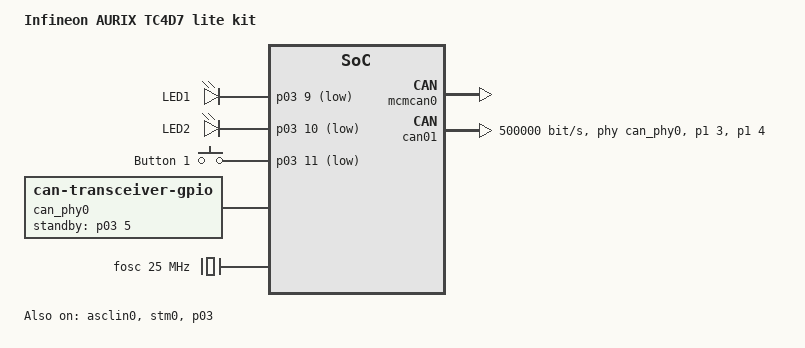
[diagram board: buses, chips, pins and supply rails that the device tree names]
/*
 * SPDX-FileCopyrightText: Copyright (c) 2025 Infineon Technologies AG,
 * SPDX-FileCopyrightText: or an affiliate of Infineon Technologies AG. All rights reserved.
 * SPDX-FileCopyrightText: Copyright (c) 2026 Linumiz
 *
 * SPDX-License-Identifier: Apache-2.0
 */

/dts-v1/;

#include <infineon/tc4x/tc4d7xp.dtsi>
#include <infineon/tc4x/tc4d7xp-pinctrl.dtsi>
#include <zephyr/dt-bindings/gpio/gpio.h>
#include <zephyr/dt-bindings/input/input-event-codes.h>

/ {
	model = "Infineon AURIX TC4D7 lite kit";
	compatible = "infineon,kit-a3g-tc4d7-lite";

	chosen {
		zephyr,flash = &flash0;
		zephyr,sram = &dsram0;
		zephyr,console = &asclin0;
		zephyr,shell-uart = &asclin0;
		zephyr,code-partition = &code_partition;
		zephyr,canbus = &can01;
	};

	aliases {
		led0 = &led0;
		led1 = &led1;
		sw0 = &button0;
	};

	leds {
		compatible = "gpio-leds";

		led0: led_0 {
			gpios = <&p03 9 GPIO_ACTIVE_LOW>;
			label = "LED1";
		};

		led1: led_1 {
			gpios = <&p03 10 GPIO_ACTIVE_LOW>;
			label = "LED2";
		};
	};

	buttons {
		compatible = "gpio-keys";

		button0: button_0 {
			gpios = <&p03 11 (GPIO_PULL_UP | GPIO_ACTIVE_LOW)>;
			label = "Button 1";
			zephyr,code = <INPUT_KEY_0>;
		};
	};

	can_phy0: can-phy0 {
		compatible = "can-transceiver-gpio";
		standby-gpios = <&p03 5 GPIO_ACTIVE_HIGH>;
		max-bitrate = <5000000>;
		#phy-cells = <0>;
	};

	clocks {
		/* 25 MHz crystal */
		fosc: fosc {
			compatible = "fixed-clock";
			clock-frequency = <DT_FREQ_M(25)>;
			#clock-cells = <0>;
		};
	};
};

/*
 * fPLL0 = 25 MHz * 20 = 500 MHz, reached through the ramp oscillator at
 * 400 MHz: fSRI and fSTM 500 MHz, fTPB 250 MHz, fSPB, fCPB and fFSI
 * 100 MHz, fMCANH 100 MHz. Peripheral PLL fDCO 800 MHz: fPLL1 160 MHz,
 * fMCAN 80 MHz, fPLL2 = 800 MHz / (2.0 * 2) = 200 MHz = fASCLINF, fPLL3
 * 400 MHz.
 */
&ccu {
	clocks = <&fosc>;
	ramp-upper-mhz = <400>;
	sri-div = <1>;
	spb-div = <5>;
	cpb-div = <5>;
	tpb-div = <2>;
	fsi-div = <5>;
	stm-div = <1>;
	asclinf-div = <1>;
	mcan-div = <2>;
	mcanh-div = <5>;

	sys-pll {
		p-div = <1>;
		n-div = <20>;
		k2-div = <1>;
	};

	per-pll {
		p-div = <1>;
		n-div = <32>;
		k2-div = <5>;
		k3-div = <2>;
		k3-prediv = <20>;
		k4-div = <2>;
	};
};

/* USB virtual COM port of the on-board debugger */
&asclin0 {
	current-speed = <115200>;
	pinctrl-0 = <&asclin0_atx_p14_0 &asclin0_arxa_p14_1>;
	pinctrl-names = "default";
	status = "okay";
};

&stm0 {
	status = "okay";
};

&p03 {
	status = "okay";
};

&mcmcan0 {
	status = "okay";
};

&can01 {
	pinctrl-0 = <&can01_txd_p1_3 &can01_rxdc_p1_4>;
	pinctrl-names = "default";
	phys = <&can_phy0>;
	bitrate = <500000>;
	status = "okay";
};

&flash0 {
	partitions {
		#address-cells = <1>;
		#size-cells = <1>;
		ranges;

		code_partition: partition@0 {
			compatible = "zephyr,mapped-partition";
			reg = <0x0 DT_SIZE_M(4)>;
		};
	};
};
